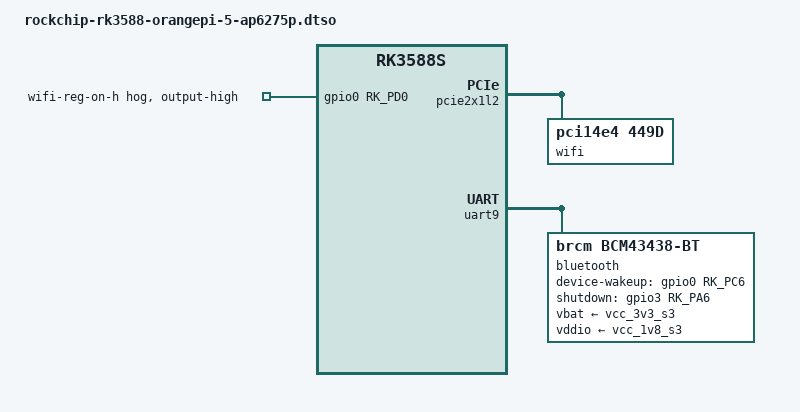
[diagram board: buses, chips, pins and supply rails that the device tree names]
// SPDX-License-Identifier: (GPL-2.0+ OR MIT)

/dts-v1/;
/plugin/;

#include <dt-bindings/gpio/gpio.h>
#include <dt-bindings/pinctrl/rockchip.h>

/ {
	compatible = "xunlong,orangepi-5", "rockchip,rk3588s";
};

&pinctrl {
	wireless-bluetooth {
		bt_reset_pin: bt-reset-pin {
			rockchip,pins = <3 RK_PA6 RK_FUNC_GPIO &pcfg_pull_none>;
		};

		bt_wake_pin: bt-wake-pin {
			rockchip,pins = <0 RK_PC6 RK_FUNC_GPIO &pcfg_pull_up>;
		};
	};
};

&pcie2x1l2 {
	pcie@0,0 {
		reg = <0x400000 0 0 0 0>;
		#address-cells = <3>;
		#size-cells = <2>;
		ranges;
		device_type = "pci";
		bus-range = <0x40 0x4f>;

		wifi: wifi@0,0 {
			compatible = "pci14e4,449d";
			reg = <0x410000 0 0 0 0>;
			clocks = <&hym8563>;
			clock-names = "lpo";
		};
	};
};

&gpio0 {
	wifi-reg-on-h {
		gpio-hog;
		gpios = <RK_PD0 GPIO_ACTIVE_HIGH>;
		output-high;
		line-name = "wifi-reg-on-h";
	};
};

&uart9 {
	pinctrl-names = "default";
	pinctrl-0 = <&uart9m2_xfer &uart9m2_ctsn &uart9m2_rtsn>;
	status = "okay";

	bluetooth {
		compatible = "brcm,bcm43438-bt";
		clocks = <&hym8563>;
		clock-names = "lpo";
		device-wakeup-gpios = <&gpio0 RK_PC6 GPIO_ACTIVE_HIGH>;
		shutdown-gpios = <&gpio3 RK_PA6 GPIO_ACTIVE_HIGH>;
		max-speed = <1500000>;
		pinctrl-names = "default";
		pinctrl-0 = <&bt_wake_pin &bt_reset_pin>;
		vbat-supply = <&vcc_3v3_s3>;
		vddio-supply = <&vcc_1v8_s3>;
	};
};
